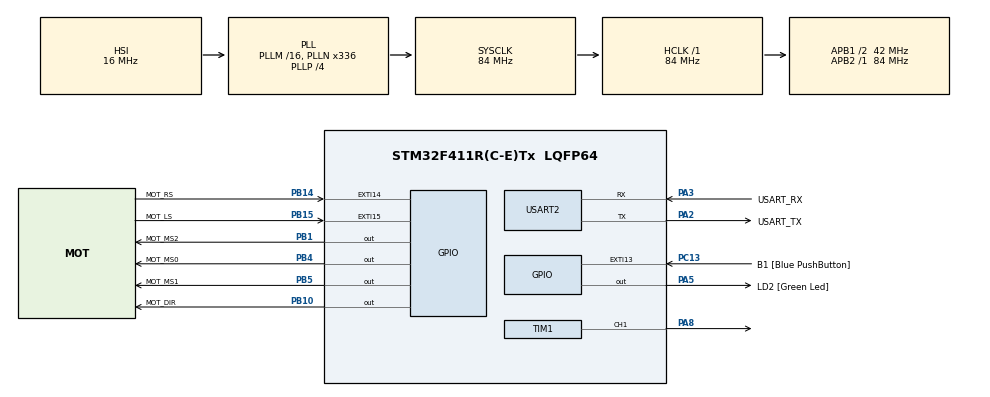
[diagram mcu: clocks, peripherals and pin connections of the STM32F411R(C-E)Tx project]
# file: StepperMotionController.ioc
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Mcu.Family=STM32F4
Mcu.Name=STM32F411R(C-E)Tx
Mcu.Package=LQFP64
NVIC.EXTI15_10_IRQn=true\:0\:0\:false\:false\:true\:true\:true\:true
NVIC.PriorityGroup=NVIC_PRIORITYGROUP_4
NVIC.TIM1_CC_IRQn=true\:0\:0\:false\:false\:true\:true\:true\:true
NVIC.TIM1_UP_TIM10_IRQn=true\:15\:0\:false\:false\:true\:false\:true\:true
NVIC.TIM2_IRQn=true\:0\:0\:false\:false\:true\:true\:true\:true
NVIC.USART2_IRQn=true\:0\:0\:false\:false\:true\:true\:true\:true
PA13.GPIO_Label=TMS
PA13.Mode=Trace_Asynchronous_SW
PA13.Signal=SYS_JTMS-SWDIO
PA14.GPIO_Label=TCK
PA14.Mode=Trace_Asynchronous_SW
PA14.Signal=SYS_JTCK-SWCLK
PA2.GPIO_Label=USART_TX
PA2.Mode=Asynchronous
PA2.Signal=USART2_TX
PA3.GPIO_Label=USART_RX
PA3.Mode=Asynchronous
PA3.Signal=USART2_RX
PA5.GPIO_Label=LD2 [Green Led]
PA5.Signal=GPIO_Output
PA8.Signal=S_TIM1_CH1
PB1.GPIO_Label=MOT_MS2
PB1.Signal=GPIO_Output
PB10.GPIO_Label=MOT_DIR
PB10.Signal=GPIO_Output
PB14.GPIO_Label=MOT_RS
PB14.GPIO_ModeDefaultEXTI=GPIO_MODE_IT_RISING_FALLING
PB14.GPIO_PuPd=GPIO_PULLUP
PB14.Signal=GPXTI14
PB15.GPIO_Label=MOT_LS
PB15.GPIO_ModeDefaultEXTI=GPIO_MODE_IT_RISING_FALLING
PB15.GPIO_PuPd=GPIO_PULLUP
PB15.Signal=GPXTI15
PB3.GPIO_Label=SWO
PB3.Mode=Trace_Asynchronous_SW
PB3.Signal=SYS_JTDO-SWO
PB4.GPIO_Label=MOT_MS0
PB4.Signal=GPIO_Output
PB5.GPIO_Label=MOT_MS1
PB5.Signal=GPIO_Output
PC13-ANTI_TAMP.GPIO_Label=B1 [Blue PushButton]
PC13-ANTI_TAMP.GPIO_ModeDefaultEXTI=GPIO_MODE_IT_FALLING
PC13-ANTI_TAMP.Signal=GPXTI13
PC14-OSC32_IN.Mode=LSE-External-Oscillator
PC14-OSC32_IN.Signal=RCC_OSC32_IN
PC15-OSC32_OUT.Mode=LSE-External-Oscillator
PC15-OSC32_OUT.Signal=RCC_OSC32_OUT
PH0\ -\ OSC_IN.Mode=HSE-External-Clock-Source
PH0\ -\ OSC_IN.Signal=RCC_OSC_IN
PH1\ -\ OSC_OUT.Mode=HSE-External-Clock-Source
PH1\ -\ OSC_OUT.Signal=RCC_OSC_OUT
ProjectManager.HeapSize=0x200
ProjectManager.StackSize=0x400
ProjectManager.TargetToolchain=STM32CubeIDE
RCC.48MHZClocksFreq_Value=84000000
RCC.AHBFreq_Value=84000000
RCC.APB1CLKDivider=RCC_HCLK_DIV2
RCC.APB1Freq_Value=42000000
RCC.APB1TimFreq_Value=84000000
RCC.APB2Freq_Value=84000000
RCC.APB2TimCLKDivider=1
RCC.APB2TimFreq_Value=84000000
RCC.CodegenConfigPeriph=true
RCC.CortexFreq_Value=84000000
RCC.FLatency-AdvancedSettings=FLASH_LATENCY_2
RCC.HCLKFreq_Value=84000000
RCC.HSE_VALUE=8000000
RCC.HSI_VALUE=16000000
RCC.PLLN=336
RCC.PLLP=RCC_PLLP_DIV4
RCC.SYSCLKFreq_VALUE=84000000
RCC.SYSCLKSource=RCC_SYSCLKSOURCE_PLLCLK
RCC.VCOOutputFreq_Value=336000000
SH.S_TIM1_CH1.0=TIM1_CH1,PWM Generation1 CH1
TIM1.Channel-PWM\ Generation1\ CH1=TIM_CHANNEL_1
TIM1.Prescaler=4200-1
TIM1.TIM_MasterOutputTrigger=TIM_TRGO_OC1REF
TIM2.Channel-Input_Capture1_from_TRC=TIM_CHANNEL_1
TIM2.CounterMode=TIM_COUNTERMODE_UP
USART2.VirtualMode=VM_ASYNC
VP_TIM2_VS_CH1.Mode=Input_Capture1_from_TRC
VP_TIM2_VS_ClockSourceITR.Mode=TriggerSource_ITR0
VP_TIM2_VS_ControllerModeClock.Mode=Clock Mode
board=NUCLEO-F411RE

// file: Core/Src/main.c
/* USER CODE BEGIN Header */
/**
  ******************************************************************************
  * @file           : main.c
  * @brief          : Main program body
  ******************************************************************************
  * @attention
  *
  * <h2><center>&copy; Copyright (c) 2022 STMicroelectronics.
  * All rights reserved.</center></h2>
  *
  * This software component is licensed by ST under BSD 3-Clause license,
  * the "License"; You may not use this file except in compliance with the
  * License. You may obtain a copy of the License at:
  *                        opensource.org/licenses/BSD-3-Clause
  *
  ******************************************************************************
  */
/* USER CODE END Header */
#include "main.h"

/* USER CODE BEGIN Includes */
#include <stdio.h>
#include "stm32f4xx.h"
#include "stepper_interface.h"

/* USER CODE END Includes */

/* USER CODE BEGIN PTD */
//typedef struct {
//	uint32_t nsteps;
//	uint8_t in_move;
//	int8_t direction;
//	uint32_t max_speed;
//	uint32_t min_speed;
//	uint32_t acceleration;
//	uint32_t nstep_stopacc;
//	uint32_t nstep_startdec;
//	uint32_t dv_update;
//	uint32_t scale;
//	TIM_TypeDef* tim_pulse;
//	TIM_TypeDef* tim_cnt;
//
//} MovementSetupTypeDef;
/* USER CODE END PTD */

/* USER CODE BEGIN PD */
#define SPEED_UPDATE_RATE_MS 1
/* USER CODE END PD */

TIM_HandleTypeDef htim1;
TIM_HandleTypeDef htim2;

UART_HandleTypeDef huart2;

/* USER CODE BEGIN PV */
volatile int8_t button_pressed = 0;
volatile int8_t command_received = 0;
volatile int8_t reply_sent = 1; // set to one, so first com_loop will start receive interrupt
volatile int8_t limit_state_changed = 1; // set to one, so first check will initialize the limit state
uint32_t BASE_CLK = 20000; // TIM1 input frequency

stepper_motor_t stepper_motor;
stepper_counter_timer_t stepper_counter_timer;
stepper_pulse_timer_t stepper_pulse_timer;
stepper_motor_gpio_t stepper_io;
stepper_board_t stepper_board;
/* USER CODE END PV */

void SystemClock_Config(void);
static void MX_GPIO_Init(void);
static void MX_USART2_UART_Init(void);
static void MX_TIM1_Init(void);
static void MX_TIM2_Init(void);

/* USER CODE BEGIN 0 */

void init_stepper(){

	stepper_pulse_timer.htim = &htim1;
	stepper_pulse_timer.channel = TIM_CHANNEL_1;
	stepper_pulse_timer.base_clk = BASE_CLK;

	stepper_counter_timer.htim = &htim2;
	stepper_counter_timer.channel = TIM_CHANNEL_1;

  stepper_io.port = MOT_DIR_GPIO_Port;
  stepper_io.pin_direction = MOT_DIR_Pin;
  stepper_io.pin_ms0 = MOT_MS0_Pin;
  stepper_io.pin_ms1 = MOT_MS1_Pin;
  stepper_io.pin_ms2 = MOT_MS2_Pin;
  stepper_io.pin_left_limit = MOT_LS_Pin;
  stepper_io.pin_right_limit = MOT_RS_Pin;

	stepper_motor.pulse_timer = &stepper_pulse_timer;
	stepper_motor.count_timer = &stepper_counter_timer;
  stepper_motor.io = &stepper_io;
  stepper_motor.pulse_timer->htim->Instance->CR1 &= ~TIM_CR1_CEN;

	stepper_motor.update_rate_ms = SPEED_UPDATE_RATE_MS;

	stepper_motor.ap.acceleration = 1;
	stepper_motor.ap.minimum_speed = 2;
	stepper_motor.ap.maximum_speed = 100;
	stepper_motor.ap.actual_position = 0;
	stepper_motor.ap.target_position = 0;
	stepper_motor.ap.actual_speed = 0;
	stepper_motor.ap.target_position_reached = 1;
	stepper_motor.ap.target_speed = stepper_motor.ap.actual_speed;

  stepper_board.motor = &stepper_motor;
  stepper_board.huart = &huart2;
}

int _write(int file, char *ptr, int len)
{
	int DataIdx;

	for (DataIdx = 0; DataIdx < len; DataIdx++)
	{
		//__io_putchar(*ptr++);
		ITM_SendChar(*ptr++);
	}
	return len;
}

void check_restart(stepper_motor_t* handle){
	if (button_pressed){
		button_pressed = 0;
		if (handle->ap.target_position_reached){
			printf("restart\n");
			stepper_start_movement(handle, handle->ap.actual_position + 150);
		}
	}
}

void uart_communication(){
  if (reply_sent){
  	reply_sent = 0;
    HAL_UART_Receive_IT(stepper_board.huart, stepper_board.com_buffer.cmd_buffer, sizeof(stepper_board.com_buffer.cmd_buffer));

  }
  if (command_received){
	  command_received = 0;
    stepper_com_action(&stepper_board);
    HAL_UART_Transmit_IT(stepper_board.huart, stepper_board.com_buffer.reply_buffer, sizeof (stepper_board.com_buffer.reply_buffer));

  }
}

// void update_limit_states(){
// 	uint8_t val = 0;
// 	// TODO Home Switch
// 	// inputs have pull ups and switches should pull pin to ground,
// 	// so pin high is switch not triggered
// 	if (!HAL_GPIO_ReadPin(MOT_LS_GPIO_Port, MOT_LS_Pin)){
// 		val |= LEFT_SWITCH;
// 	}
// 	if (!HAL_GPIO_ReadPin(MOT_RS_GPIO_Port, MOT_RS_Pin)){
// 		val |= RIGHT_SWITCH;
// 	}
// 	stepper_board.motor->ap.limit_states = val;
// }
/* USER CODE END 0 */

int main(void)
{

  /* MCU Configuration--------------------------------------------------------*/

  /* Reset of all peripherals, Initializes the Flash interface and the Systick. */
  HAL_Init();

  /* Configure the system clock */
  SystemClock_Config();

  /* Initialize all configured peripherals */
  MX_GPIO_Init();
  MX_USART2_UART_Init();
  MX_TIM1_Init();
  MX_TIM2_Init();
  /* USER CODE BEGIN 2 */
  TIM2->ARR = 10;
  TIM1->ARR = 50000;
  TIM1->CCR1 = 25000;

//  current_position = 0;
//  acceleration = 1;
//  max_speed = 10;
//  min_speed = 2;
//  n_steps = 100;
//  _set_speed(min_speed);
  HAL_GPIO_TogglePin(LD2_GPIO_Port, LD2_Pin);
  HAL_Delay(1000);
  HAL_TIM_Base_Start(&htim1);
  //HAL_TIM_Base_Start(&htim2);

  __HAL_TIM_CLEAR_FLAG(&htim2, TIM_SR_UIF);

  HAL_TIM_Base_Start_IT(&htim2);
  HAL_TIM_IC_Start(&htim2, TIM_CHANNEL_1);
  HAL_TIM_PWM_Start(&htim1, TIM_CHANNEL_1);

  init_stepper();

  //stepper_start_movement(&stepper, 150);
  /* USER CODE END 2 */

  /* Infinite loop */
  /* USER CODE BEGIN WHILE */
  while (1)
  {
	  if (limit_state_changed){
		  stepper_notify_limitstate_changed(stepper_board.motor);
		  limit_state_changed = 0;
	  }
	  uart_communication();
	  check_restart(stepper_board.motor);
	  //update_speed(&movement_setup);
	  stepper_update_loop(stepper_board.motor);

    /* USER CODE END WHILE */

  }
}

void SystemClock_Config(void)
{
  RCC_OscInitTypeDef RCC_OscInitStruct = {0};
  RCC_ClkInitTypeDef RCC_ClkInitStruct = {0};

  /** Configure the main internal regulator output voltage
  */
  __HAL_RCC_PWR_CLK_ENABLE();
  __HAL_PWR_VOLTAGESCALING_CONFIG(PWR_REGULATOR_VOLTAGE_SCALE1);

  /** Initializes the RCC Oscillators according to the specified parameters
  * in the RCC_OscInitTypeDef structure.
  */
  RCC_OscInitStruct.OscillatorType = RCC_OSCILLATORTYPE_HSI;
  RCC_OscInitStruct.HSIState = RCC_HSI_ON;
  RCC_OscInitStruct.HSICalibrationValue = RCC_HSICALIBRATION_DEFAULT;
  RCC_OscInitStruct.PLL.PLLState = RCC_PLL_ON;
  RCC_OscInitStruct.PLL.PLLSource = RCC_PLLSOURCE_HSI;
  RCC_OscInitStruct.PLL.PLLM = 16;
  RCC_OscInitStruct.PLL.PLLN = 336;
  RCC_OscInitStruct.PLL.PLLP = RCC_PLLP_DIV4;
  RCC_OscInitStruct.PLL.PLLQ = 4;
  if (HAL_RCC_OscConfig(&RCC_OscInitStruct) != HAL_OK)
  {
    Error_Handler();
  }

  /** Initializes the CPU, AHB and APB buses clocks
  */
  RCC_ClkInitStruct.ClockType = RCC_CLOCKTYPE_HCLK|RCC_CLOCKTYPE_SYSCLK
                              |RCC_CLOCKTYPE_PCLK1|RCC_CLOCKTYPE_PCLK2;
  RCC_ClkInitStruct.SYSCLKSource = RCC_SYSCLKSOURCE_PLLCLK;
  RCC_ClkInitStruct.AHBCLKDivider = RCC_SYSCLK_DIV1;
  RCC_ClkInitStruct.APB1CLKDivider = RCC_HCLK_DIV2;
  RCC_ClkInitStruct.APB2CLKDivider = RCC_HCLK_DIV1;

  if (HAL_RCC_ClockConfig(&RCC_ClkInitStruct, FLASH_LATENCY_2) != HAL_OK)
  {
    Error_Handler();
  }
}

static void MX_TIM1_Init(void)
{

  TIM_MasterConfigTypeDef sMasterConfig = {0};
  TIM_OC_InitTypeDef sConfigOC = {0};
  TIM_BreakDeadTimeConfigTypeDef sBreakDeadTimeConfig = {0};

  htim1.Instance = TIM1;
  htim1.Init.Prescaler = 4200-1;
  htim1.Init.CounterMode = TIM_COUNTERMODE_UP;
  htim1.Init.Period = 65535;
  htim1.Init.ClockDivision = TIM_CLOCKDIVISION_DIV1;
  htim1.Init.RepetitionCounter = 0;
  htim1.Init.AutoReloadPreload = TIM_AUTORELOAD_PRELOAD_DISABLE;
  if (HAL_TIM_PWM_Init(&htim1) != HAL_OK)
  {
    Error_Handler();
  }
  sMasterConfig.MasterOutputTrigger = TIM_TRGO_OC1REF;
  sMasterConfig.MasterSlaveMode = TIM_MASTERSLAVEMODE_DISABLE;
  if (HAL_TIMEx_MasterConfigSynchronization(&htim1, &sMasterConfig) != HAL_OK)
  {
    Error_Handler();
  }
  sConfigOC.OCMode = TIM_OCMODE_PWM1;
  sConfigOC.Pulse = 0;
  sConfigOC.OCPolarity = TIM_OCPOLARITY_HIGH;
  sConfigOC.OCNPolarity = TIM_OCNPOLARITY_HIGH;
  sConfigOC.OCFastMode = TIM_OCFAST_DISABLE;
  sConfigOC.OCIdleState = TIM_OCIDLESTATE_RESET;
  sConfigOC.OCNIdleState = TIM_OCNIDLESTATE_RESET;
  if (HAL_TIM_PWM_ConfigChannel(&htim1, &sConfigOC, TIM_CHANNEL_1) != HAL_OK)
  {
    Error_Handler();
  }
  sBreakDeadTimeConfig.OffStateRunMode = TIM_OSSR_DISABLE;
  sBreakDeadTimeConfig.OffStateIDLEMode = TIM_OSSI_DISABLE;
  sBreakDeadTimeConfig.LockLevel = TIM_LOCKLEVEL_OFF;
  sBreakDeadTimeConfig.DeadTime = 0;
  sBreakDeadTimeConfig.BreakState = TIM_BREAK_DISABLE;
  sBreakDeadTimeConfig.BreakPolarity = TIM_BREAKPOLARITY_HIGH;
  sBreakDeadTimeConfig.AutomaticOutput = TIM_AUTOMATICOUTPUT_DISABLE;
  if (HAL_TIMEx_ConfigBreakDeadTime(&htim1, &sBreakDeadTimeConfig) != HAL_OK)
  {
    Error_Handler();
  }
  HAL_TIM_MspPostInit(&htim1);

}

static void MX_TIM2_Init(void)
{

  TIM_SlaveConfigTypeDef sSlaveConfig = {0};
  TIM_MasterConfigTypeDef sMasterConfig = {0};
  TIM_IC_InitTypeDef sConfigIC = {0};

  htim2.Instance = TIM2;
  htim2.Init.Prescaler = 0;
  htim2.Init.CounterMode = TIM_COUNTERMODE_UP;
  htim2.Init.Period = 4294967295;
  htim2.Init.ClockDivision = TIM_CLOCKDIVISION_DIV1;
  htim2.Init.AutoReloadPreload = TIM_AUTORELOAD_PRELOAD_DISABLE;
  if (HAL_TIM_Base_Init(&htim2) != HAL_OK)
  {
    Error_Handler();
  }
  if (HAL_TIM_IC_Init(&htim2) != HAL_OK)
  {
    Error_Handler();
  }
  sSlaveConfig.SlaveMode = TIM_SLAVEMODE_EXTERNAL1;
  sSlaveConfig.InputTrigger = TIM_TS_ITR0;
  if (HAL_TIM_SlaveConfigSynchro(&htim2, &sSlaveConfig) != HAL_OK)
  {
    Error_Handler();
  }
  sMasterConfig.MasterOutputTrigger = TIM_TRGO_RESET;
  sMasterConfig.MasterSlaveMode = TIM_MASTERSLAVEMODE_DISABLE;
  if (HAL_TIMEx_MasterConfigSynchronization(&htim2, &sMasterConfig) != HAL_OK)
  {
    Error_Handler();
  }
  sConfigIC.ICPolarity = TIM_INPUTCHANNELPOLARITY_RISING;
  sConfigIC.ICSelection = TIM_ICSELECTION_TRC;
  sConfigIC.ICPrescaler = TIM_ICPSC_DIV1;
  sConfigIC.ICFilter = 0;
  if (HAL_TIM_IC_ConfigChannel(&htim2, &sConfigIC, TIM_CHANNEL_1) != HAL_OK)
  {
    Error_Handler();
  }

}

static void MX_USART2_UART_Init(void)
{

  huart2.Instance = USART2;
  huart2.Init.BaudRate = 115200;
  huart2.Init.WordLength = UART_WORDLENGTH_8B;
  huart2.Init.StopBits = UART_STOPBITS_1;
  huart2.Init.Parity = UART_PARITY_NONE;
  huart2.Init.Mode = UART_MODE_TX_RX;
  huart2.Init.HwFlowCtl = UART_HWCONTROL_NONE;
  huart2.Init.OverSampling = UART_OVERSAMPLING_16;
  if (HAL_UART_Init(&huart2) != HAL_OK)
  {
    Error_Handler();
  }

}

static void MX_GPIO_Init(void)
{
  GPIO_InitTypeDef GPIO_InitStruct = {0};

  /* GPIO Ports Clock Enable */
  __HAL_RCC_GPIOC_CLK_ENABLE();
  __HAL_RCC_GPIOH_CLK_ENABLE();
  __HAL_RCC_GPIOA_CLK_ENABLE();
  __HAL_RCC_GPIOB_CLK_ENABLE();

  /*Configure GPIO pin Output Level */
  HAL_GPIO_WritePin(LD2_GPIO_Port, LD2_Pin, GPIO_PIN_RESET);

  /*Configure GPIO pin Output Level */
  HAL_GPIO_WritePin(GPIOB, MOT_MS2_Pin|MOT_DIR_Pin|MOT_MS0_Pin|MOT_MS1_Pin, GPIO_PIN_RESET);

  /*Configure GPIO pin : B1_Pin */
  GPIO_InitStruct.Pin = B1_Pin;
  GPIO_InitStruct.Mode = GPIO_MODE_IT_FALLING;
  GPIO_InitStruct.Pull = GPIO_NOPULL;
  HAL_GPIO_Init(B1_GPIO_Port, &GPIO_InitStruct);

  /*Configure GPIO pin : LD2_Pin */
  GPIO_InitStruct.Pin = LD2_Pin;
  GPIO_InitStruct.Mode = GPIO_MODE_OUTPUT_PP;
  GPIO_InitStruct.Pull = GPIO_NOPULL;
  GPIO_InitStruct.Speed = GPIO_SPEED_FREQ_LOW;
  HAL_GPIO_Init(LD2_GPIO_Port, &GPIO_InitStruct);

  /*Configure GPIO pins : MOT_MS2_Pin MOT_DIR_Pin MOT_MS0_Pin MOT_MS1_Pin */
  GPIO_InitStruct.Pin = MOT_MS2_Pin|MOT_DIR_Pin|MOT_MS0_Pin|MOT_MS1_Pin;
  GPIO_InitStruct.Mode = GPIO_MODE_OUTPUT_PP;
  GPIO_InitStruct.Pull = GPIO_NOPULL;
  GPIO_InitStruct.Speed = GPIO_SPEED_FREQ_LOW;
  HAL_GPIO_Init(GPIOB, &GPIO_InitStruct);

  /*Configure GPIO pins : MOT_RS_Pin MOT_LS_Pin */
  GPIO_InitStruct.Pin = MOT_RS_Pin|MOT_LS_Pin;
  GPIO_InitStruct.Mode = GPIO_MODE_IT_RISING_FALLING;
  GPIO_InitStruct.Pull = GPIO_PULLUP;
  HAL_GPIO_Init(GPIOB, &GPIO_InitStruct);

  /* EXTI interrupt init*/
  HAL_NVIC_SetPriority(EXTI15_10_IRQn, 0, 0);
  HAL_NVIC_EnableIRQ(EXTI15_10_IRQn);

}

/* USER CODE BEGIN 4 */
void HAL_TIM_PeriodElapsedCallback(TIM_HandleTypeDef* htim)
{
	if (htim == &htim2){
		// TODO Stop TIM1
	    //HAL_TIM_PWM_Stop(&htim1, TIM_CHANNEL_1);
		HAL_GPIO_TogglePin(LD2_GPIO_Port, LD2_Pin);
		stepper_notify_target_reached(&stepper_motor);
	}
	else if (htim == &htim1){
//		HAL_GPIO_TogglePin(LD2_GPIO_Port, LD2_Pin);
	}
}

// EXTI Line9 External Interrupt ISR Handler CallBackFun
void HAL_GPIO_EXTI_Callback(uint16_t GPIO_Pin)
{
    if(GPIO_Pin == B1_Pin) // If The INT Source Is EXTI Line9 (A9 Pin)
    {
    	button_pressed = 1;
    }
    if (GPIO_Pin & (MOT_LS_Pin|MOT_RS_Pin)  ){
    	limit_state_changed = 1;
    }
}

void HAL_UART_RxCpltCallback(UART_HandleTypeDef *huart)
{
    if (huart == &huart2){
      command_received = 1;
    }
}
void HAL_UART_TxCpltCallback(UART_HandleTypeDef *huart)
{
    if (huart == &huart2){
      reply_sent = 1;
    }
}
/* USER CODE END 4 */

void Error_Handler(void)
{
  __disable_irq();
  while (1)
  {
  }
}
